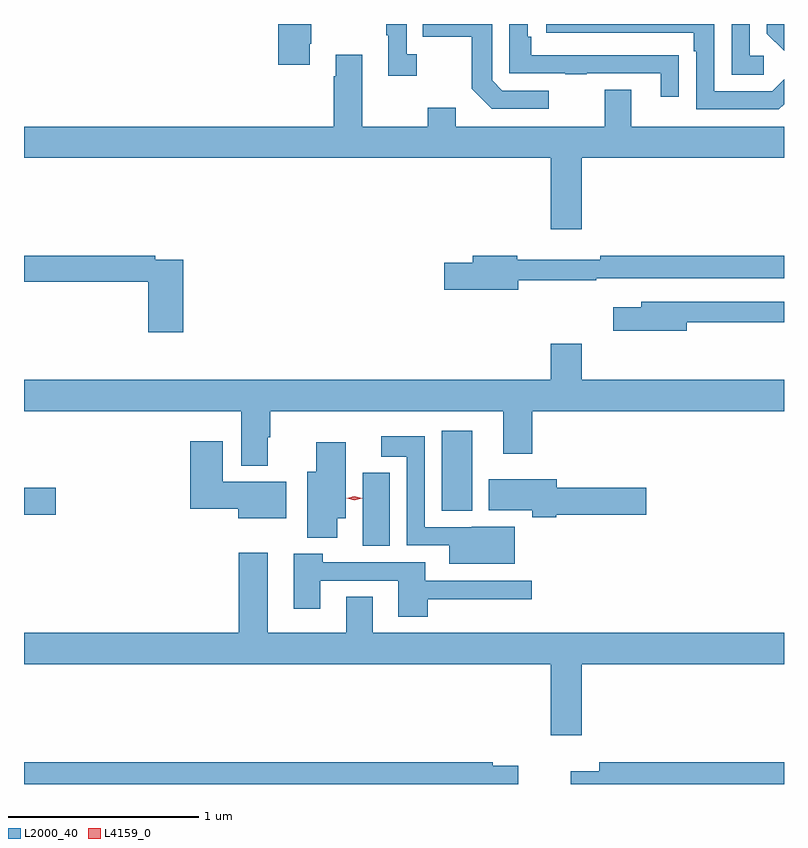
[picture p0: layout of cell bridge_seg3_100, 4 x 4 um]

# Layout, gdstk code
import gdstk
lib = gdstk.Library(unit=1e-6, precision=1e-09)
def R(c, l, rs):  # rectangles x0, y0, x1, y1
    for r in rs: c.add(gdstk.rectangle(r[:2], r[2:], *l))
def P(c, l, *ps):  # polygons
    for p in ps: c.add(gdstk.Polygon(p, *l))
L2000_40 = (2000, 40)
L4159_0 = (4159, 0)

bridge_seg3_100 = lib.new_cell('bridge_seg3_100')
R(bridge_seg3_100, L2000_40, [(559.622,733.508,559.765,733.891), (557.84,733.67,558.007,733.812), (560.039,733.691,560.2,734.113)])
P(bridge_seg3_100, L2000_40, [(559.345,736.15),(559.353,736.15),(559.353,736.253),(559.178,736.253),(559.178,736.038),(559.345,736.038)],
  [(561.84,735.831),(561.84,735.963),(561.777,735.9),(561.474,735.9),(561.474,736.253),(560.589,736.253),(560.589,736.206),(561.365,736.206),(561.365,736.109),(561.378,736.109),(561.378,735.804),(561.813,735.804)],
  [(561.287,736.088),(561.185,736.088),(561.185,736.089),(560.51,736.089),(560.51,736.186),(560.49,736.186),(560.49,736.253),(560.394,736.253),(560.394,735.993),(560.689,735.993),(560.689,735.988),(560.801,735.988),(560.801,735.993),(561.191,735.993),(561.191,735.87),(561.287,735.87)],
  [(559.906,736.094),(559.854,736.094),(559.854,736.253),(559.746,736.253),(559.746,736.193),(559.757,736.193),(559.757,735.981),(559.906,735.981)],
  [(561.733,736.086),(561.66,736.086),(561.66,736.253),(561.564,736.253),(561.564,735.985),(561.733,735.985)],
  [(560.602,735.903),(560.358,735.903),(560.304,735.957),(560.304,736.253),(559.939,736.253),(559.939,736.186),(560.196,736.186),(560.196,735.913),(560.301,735.807),(560.602,735.807)],
  [(561.84,736.253),(561.75,736.253),(561.75,736.202),(561.84,736.112)],
  [(560.776,735.548),(561.84,735.548),(561.84,735.712),(561.037,735.712),(561.037,735.907),(560.897,735.907),(560.897,735.712),(560.113,735.712),(560.113,735.811),(559.966,735.811),(559.966,735.712),(559.621,735.712),(559.621,736.09),(559.481,736.09),(559.481,735.977),(559.469,735.977),(559.469,735.712),(557.84,735.712),(557.84,735.548),(560.612,735.548),(560.612,735.174),(560.776,735.174)],
  [(560.44,734.904),(560.852,734.904),(560.852,734.916),(561.84,734.916),(561.84,735.032),(560.872,735.032),(560.872,735.013),(560.436,735.013),(560.436,735.032),(560.201,735.032),(560.201,734.996),(560.052,734.996),(560.052,734.854),(560.44,734.854)],
  [(558.677,735.012),(558.53,735.012),(558.53,735.032),(557.84,735.032),(557.84,734.896),(558.494,734.896),(558.494,734.631),(558.677,734.631)],
  [(561.328,734.682),(561.84,734.682),(561.84,734.79),(561.089,734.79),(561.089,734.761),(560.94,734.761),(560.94,734.639),(561.328,734.639)],
  [(559.123,734.078),(559.136,734.078),(559.136,734.216),(560.363,734.216),(560.363,733.992),(560.516,733.992),(560.516,734.216),(561.84,734.216),(561.84,734.38),(560.776,734.38),(560.776,734.569),(560.612,734.569),(560.612,734.38),(557.84,734.38),(557.84,734.216),(558.983,734.216),(558.983,733.928),(559.123,733.928)],
  [(560.422,733.606),(560.196,733.606),(560.196,733.605),(559.95,733.605),(559.95,734.083),(559.719,734.083),(559.719,733.976),(559.854,733.976),(559.854,733.509),(560.078,733.509),(560.078,733.412),(560.422,733.412)],
  [(559.219,733.843),(558.886,733.843),(558.886,734.056),(558.716,734.056),(558.716,733.703),(558.968,733.703),(558.968,733.652),(559.219,733.652)],
  [(559.489,733.652),(559.534,733.652),(559.534,734.053),(559.379,734.053),(559.379,733.897),(559.331,733.897),(559.331,733.55),(559.489,733.55)],
  [(560.64,733.67),(561.115,733.67),(561.115,733.812),(560.644,733.812),(560.644,733.858),(560.285,733.858),(560.285,733.694),(560.515,733.694),(560.515,733.657),(560.64,733.657)],
  [(560.776,732.884),(561.84,732.884),(561.84,733.048),(559.675,733.048),(559.675,733.238),(559.535,733.238),(559.535,733.048),(559.123,733.048),(559.123,733.471),(558.971,733.471),(558.971,733.048),(557.84,733.048),(557.84,732.884),(560.612,732.884),(560.612,732.51),(560.776,732.51)],
  [(559.964,733.226),(560.512,733.226),(560.512,733.323),(559.951,733.323),(559.951,733.419),(559.412,733.419),(559.412,733.465),(559.259,733.465),(559.259,733.176),(559.399,733.176),(559.399,733.323),(559.811,733.323),(559.811,733.134),(559.964,733.134)],
  [(561.84,732.368),(560.867,732.368),(560.867,732.319),(560.718,732.319),(560.718,732.253),(561.84,732.253)],
  [(560.44,732.348),(560.306,732.348),(560.306,732.368),(557.84,732.368),(557.84,732.253),(560.44,732.253)])
P(bridge_seg3_100, L4159_0, [(559.579,733.747),(559.539,733.757),(559.538,733.757),(559.539,733.758),(559.579,733.767),(559.62,733.757),(559.62,733.757),(559.62,733.757)])

lib.write_gds('bridge_seg3_100.gds')
